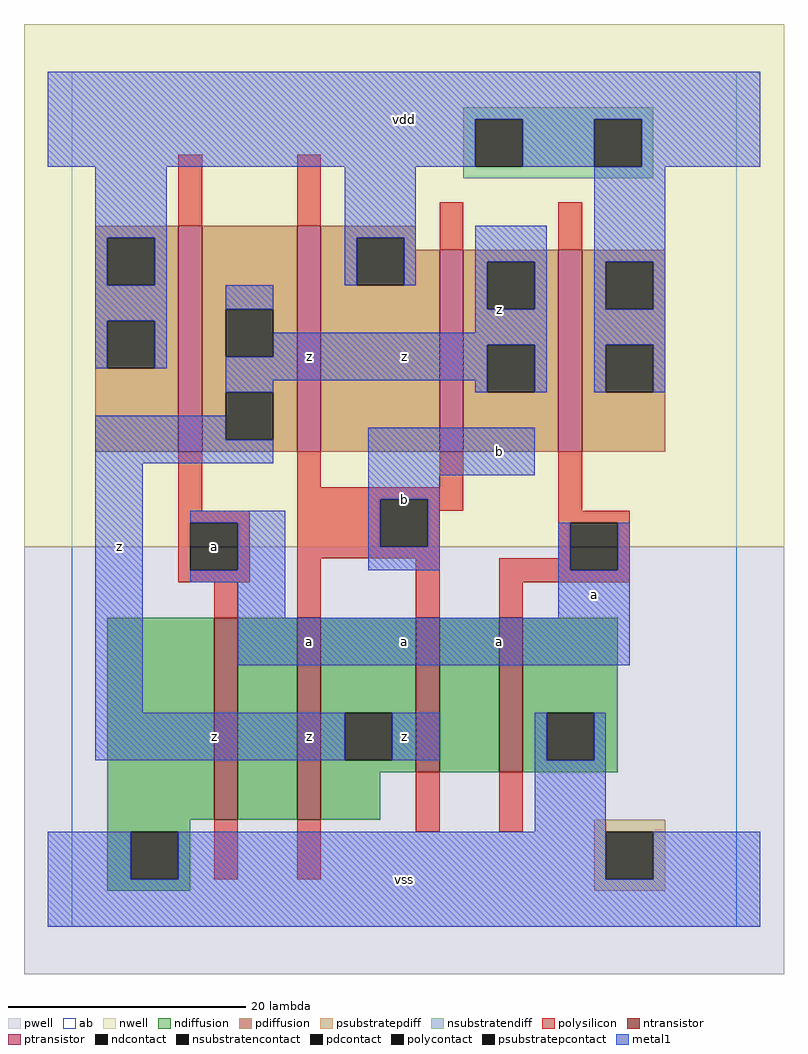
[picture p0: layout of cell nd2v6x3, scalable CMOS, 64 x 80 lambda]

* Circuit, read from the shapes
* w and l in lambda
.subckt nd2v6x3 a b vdd vss z
M1 n1 a vss vss nfet w=17 l=2
M2 z b n1 vss nfet w=17 l=2
M3 n2 b z vss nfet w=13 l=2
M4 vss a n2 vss nfet w=13 l=2
M5 z a vdd vdd pfet w=19 l=2
M6 vdd b z vdd pfet w=19 l=2
M7 z b vdd vdd pfet w=17 l=2
M8 vdd a z vdd pfet w=17 l=2
.ends

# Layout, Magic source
magic
tech scmos
<< ab >>
rect 0 0 56 72
<< pwell >>
rect -4 -4 60 32
<< nwell >>
rect -4 32 60 76
<< polysilicon >>
rect 9 59 11 65
rect 19 59 21 65
rect 31 57 33 61
rect 41 57 43 61
rect 9 35 11 40
rect 19 37 21 40
rect 31 37 33 40
rect 19 36 33 37
rect 9 34 15 35
rect 9 30 10 34
rect 14 30 15 34
rect 9 29 15 30
rect 19 32 26 36
rect 30 35 33 36
rect 41 35 43 40
rect 30 32 31 35
rect 19 31 31 32
rect 41 34 47 35
rect 41 31 42 34
rect 12 26 14 29
rect 19 26 21 31
rect 29 26 31 31
rect 36 30 42 31
rect 46 30 47 34
rect 36 29 47 30
rect 36 26 38 29
rect 12 4 14 9
rect 19 4 21 9
rect 29 8 31 13
rect 36 8 38 13
<< ndiffusion >>
rect 3 9 12 26
rect 14 9 19 26
rect 21 18 29 26
rect 21 14 23 18
rect 27 14 29 18
rect 21 13 29 14
rect 31 13 36 26
rect 38 18 46 26
rect 38 14 40 18
rect 44 14 46 18
rect 38 13 46 14
rect 21 9 26 13
rect 3 8 10 9
rect 3 4 5 8
rect 9 4 10 8
rect 3 3 10 4
<< pdiffusion >>
rect 2 58 9 59
rect 2 54 3 58
rect 7 54 9 58
rect 2 51 9 54
rect 2 47 3 51
rect 7 47 9 51
rect 2 40 9 47
rect 11 52 19 59
rect 11 48 13 52
rect 17 48 19 52
rect 11 45 19 48
rect 11 41 13 45
rect 17 41 19 45
rect 11 40 19 41
rect 21 58 29 59
rect 21 54 24 58
rect 28 57 29 58
rect 28 54 31 57
rect 21 40 31 54
rect 33 56 41 57
rect 33 52 35 56
rect 39 52 41 56
rect 33 49 41 52
rect 33 45 35 49
rect 39 45 41 49
rect 33 40 41 45
rect 43 56 50 57
rect 43 52 45 56
rect 49 52 50 56
rect 43 49 50 52
rect 43 45 45 49
rect 49 45 50 49
rect 43 40 50 45
<< metal1 >>
rect -2 68 58 72
rect -2 64 34 68
rect 38 64 44 68
rect 48 64 58 68
rect 2 58 8 64
rect 2 54 3 58
rect 7 54 8 58
rect 23 58 29 64
rect 23 54 24 58
rect 28 54 29 58
rect 34 56 40 59
rect 2 51 8 54
rect 2 47 3 51
rect 7 47 8 51
rect 13 52 17 54
rect 34 52 35 56
rect 39 52 40 56
rect 34 50 40 52
rect 17 49 40 50
rect 17 48 35 49
rect 13 46 35 48
rect 13 45 17 46
rect 34 45 35 46
rect 39 45 40 49
rect 44 56 50 64
rect 44 52 45 56
rect 49 52 50 56
rect 44 49 50 52
rect 44 45 45 49
rect 49 45 50 49
rect 2 41 13 43
rect 2 39 17 41
rect 2 18 6 39
rect 25 38 39 42
rect 25 36 31 38
rect 10 34 18 35
rect 14 30 18 34
rect 25 32 26 36
rect 30 32 31 36
rect 25 30 31 32
rect 41 30 42 34
rect 46 30 47 34
rect 10 29 18 30
rect 14 26 18 29
rect 41 26 47 30
rect 14 22 47 26
rect 2 14 23 18
rect 27 14 31 18
rect 39 14 40 18
rect 44 14 45 18
rect 39 8 45 14
rect -2 4 5 8
rect 9 4 45 8
rect 49 4 58 8
rect -2 0 58 4
<< ntransistor >>
rect 12 9 14 26
rect 19 9 21 26
rect 29 13 31 26
rect 36 13 38 26
<< ptransistor >>
rect 9 40 11 59
rect 19 40 21 59
rect 31 40 33 57
rect 41 40 43 57
<< polycontact >>
rect 10 30 14 34
rect 26 32 30 36
rect 42 30 46 34
<< ndcontact >>
rect 23 14 27 18
rect 40 14 44 18
rect 5 4 9 8
<< pdcontact >>
rect 3 54 7 58
rect 3 47 7 51
rect 13 48 17 52
rect 13 41 17 45
rect 24 54 28 58
rect 35 52 39 56
rect 35 45 39 49
rect 45 52 49 56
rect 45 45 49 49
<< psubstratepcontact >>
rect 45 4 49 8
<< nsubstratencontact >>
rect 34 64 38 68
rect 44 64 48 68
<< psubstratepdiff >>
rect 44 8 50 9
rect 44 4 45 8
rect 49 4 50 8
rect 44 3 50 4
<< nsubstratendiff >>
rect 33 68 49 69
rect 33 64 34 68
rect 38 64 44 68
rect 48 64 49 68
rect 33 63 49 64
<< labels >>
rlabel metal1 4 32 4 32 6 z
rlabel metal1 20 16 20 16 6 z
rlabel metal1 12 16 12 16 6 z
rlabel polycontact 12 32 12 32 6 a
rlabel metal1 20 24 20 24 6 a
rlabel metal1 20 48 20 48 6 z
rlabel metal1 28 4 28 4 6 vss
rlabel metal1 28 16 28 16 6 z
rlabel metal1 28 24 28 24 6 a
rlabel metal1 36 24 36 24 6 a
rlabel metal1 36 40 36 40 6 b
rlabel metal1 28 36 28 36 6 b
rlabel metal1 28 48 28 48 6 z
rlabel metal1 36 52 36 52 6 z
rlabel metal1 28 68 28 68 6 vdd
rlabel metal1 44 28 44 28 6 a
<< end >>
